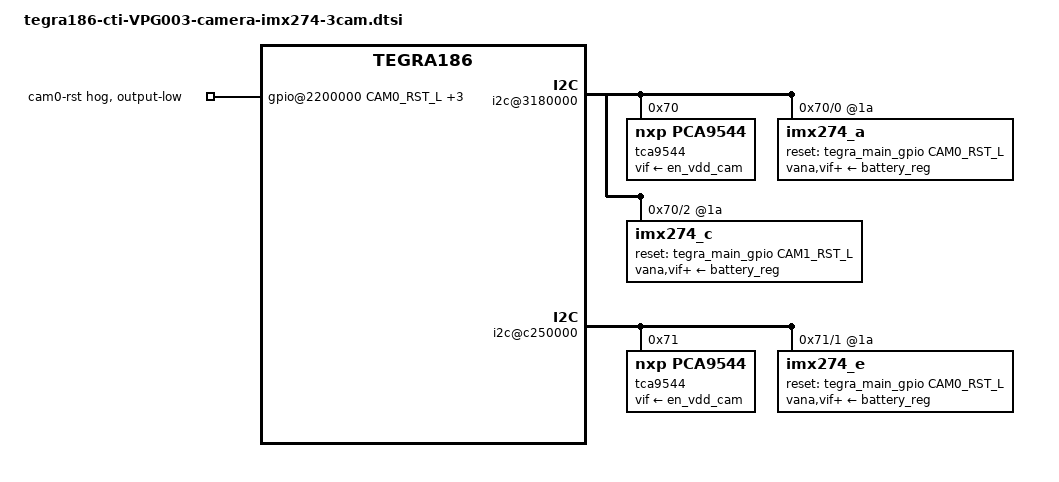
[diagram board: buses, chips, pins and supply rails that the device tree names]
/*
 * Copyright (c) 2015-2016, NVIDIA CORPORATION.  All rights reserved.
 *
 * This program is free software; you can redistribute it and/or modify
 * it under the terms of the GNU General Public License as published by
 * the Free Software Foundation; either version 2 of the License, or
 * (at your option) any later version.
 *
 * This program is distributed in the hope that it will be useful, but WITHOUT
 * ANY WARRANTY; without even the implied warranty of MERCHANTABILITY or
 * FITNESS FOR A PARTICULAR PURPOSE.  See the GNU General Public License for
 * more details.
 *
 * You should have received a copy of the GNU General Public License
 * along with this program.  If not, see <http://www.gnu.org/licenses/>.
 */

#include <t18x-common-modules/tegra186-cti-VPG003-camera-imx274-3cam.dtsi>
#include "dt-bindings/clock/tegra186-clock.h"

#define CAM0_RST_L	TEGRA_MAIN_GPIO(R, 5)
#define CAM0_PWDN	TEGRA_MAIN_GPIO(R, 0)
#define CAM1_RST_L	TEGRA_MAIN_GPIO(R, 1)
#define CAM1_PWDN	TEGRA_MAIN_GPIO(N, 2)
#define CAMERA_I2C_MUX_BUS1(x) (0x1E + x)
#define CAMERA_I2C_MUX_BUS2(x) (0x22 + x)

/* camera control gpio definitions */

/ {
	gpio@2200000 {
		camera-control-output-low {
			gpio-hog;
			output-low;
			gpios = <CAM0_RST_L 0 CAM0_PWDN 0
				 CAM1_RST_L 0 CAM1_PWDN 0>;
			label = "cam0-rst", "cam0-pwdn",
				"cam1-rst", "cam1-pwdn";
		};
	};
	
	i2c@3180000 {		
		tca9544@70 {
			compatible = "nxp,pca9544";
			reg = <0x70>;
			#address-cells = <1>;
			#size-cells = <0>;
			skip_mux_detect = "yes";
			vif-supply = <&en_vdd_cam>;
			vcc_lp = "vif";
			force_bus_start = <CAMERA_I2C_MUX_BUS2(0)>;	
			
			i2c@0 {
				reg = <0>;
				i2c-mux,deselect-on-exit;
				#address-cells = <1>;
				#size-cells = <0>;
			};
			
			i2c@0 {
				imx274_a@1a {
					/* Define any required hw resources needed by driver */
					/* ie. clocks, io pins, power sources */
					clocks = <&tegra_car TEGRA186_CLK_EXTPERIPH1>,
							 <&tegra_car TEGRA186_CLK_PLLP_OUT0>;
					clock-names = "extperiph1", "pllp_grtba";
					mclk = "extperiph1";
					reset-gpios = <&tegra_main_gpio CAM0_RST_L GPIO_ACTIVE_HIGH>;
					vana-supply = <&battery_reg>;
					vif-supply = <&battery_reg>;
					vdig-supply = <&battery_reg>;
				};
			};
			
			i2c@2 {
				reg = <2>;
				i2c-mux,deselect-on-exit;
				#address-cells = <1>;
				#size-cells = <0>;
			};
						
			i2c@2 {
				imx274_c@1a {
					/* Define any required hw resources needed by driver */
					/* ie. clocks, io pins, power sources */
					clocks = <&tegra_car TEGRA186_CLK_EXTPERIPH2>,
						 <&tegra_car TEGRA186_CLK_PLLP_OUT0>;
					clock-names = "extperiph2", "pllp_grtba";
					mclk = "extperiph2";		
					reset-gpios = <&tegra_main_gpio CAM1_RST_L GPIO_ACTIVE_HIGH>;
					vana-supply = <&battery_reg>;
					vif-supply = <&battery_reg>;
					vdig-supply = <&battery_reg>;
				};
			};
		};	
	};
	
	i2c@c250000 {
		tca9544@71 {
			compatible = "nxp,pca9544";
			reg = <0x71>;
			#address-cells = <1>;
			#size-cells = <0>;
			skip_mux_detect = "yes";
			vif-supply = <&en_vdd_cam>;
			vcc_lp = "vif";
			force_bus_start = <CAMERA_I2C_MUX_BUS1(0)>;
			
			i2c@1 {
				reg = <1>;
				i2c-mux,deselect-on-exit;
				#address-cells = <1>;
				#size-cells = <0>;
			};
			
			i2c@1 {
				imx274_e@1a {
					/* Define any required hw resources needed by driver */
					/* ie. clocks, io pins, power sources */
					clocks = <&tegra_car TEGRA186_CLK_EXTPERIPH1>,
							 <&tegra_car TEGRA186_CLK_PLLP_OUT0>;
					clock-names = "extperiph1", "pllp_grtba";
					mclk = "extperiph1";
					reset-gpios = <&tegra_main_gpio CAM0_RST_L GPIO_ACTIVE_HIGH>;
					vana-supply = <&battery_reg>;
					vif-supply = <&battery_reg>;
					vdig-supply = <&battery_reg>;
				};
			};			
		};
	};
	
};
